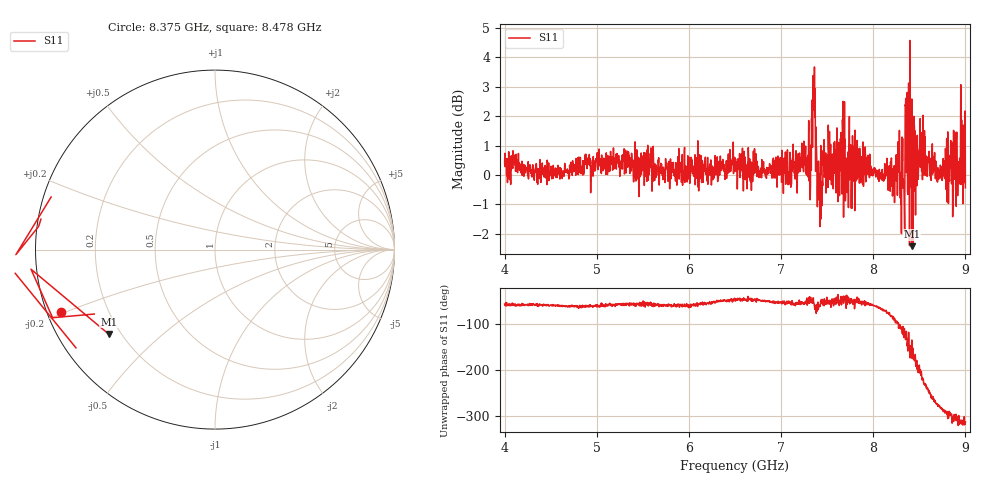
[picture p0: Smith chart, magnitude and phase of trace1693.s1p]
! Created with skrf 1.8.0 (http://scikit-rf.org).
# Hz S RI R 50.0
!freq ReS11 ImS11
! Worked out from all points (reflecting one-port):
!   1601 points, 4 GHz to 9 GHz, reference 50 ohm
!   lowest |S11| = -2.4 dB at 8.422 GHz (marker M1), VSWR 7.22, Z = 7.75 - j17.1 ohm
!   phase of S11 starts at -56 deg and turns -257 deg over the sweep
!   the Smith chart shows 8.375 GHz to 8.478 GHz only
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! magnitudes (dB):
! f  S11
! 4 GHz  0.4
! 4.625 GHz  -0.1
! 5.25 GHz  0.0
! 5.875 GHz  -0.1
! 6.5 GHz  0.6
! 7.125 GHz  0.6
! 7.294 GHz  -0.1
! 7.356 GHz  3.4
! 7.397 GHz  -0.5
! 7.419 GHz  -0.3
! 7.519 GHz  0.8
! 7.616 GHz  -0.9
! 7.669 GHz  1.5
! 7.7 GHz  -0.8
! 7.75 GHz  0.6
! 8.209 GHz  -0.7
! 8.262 GHz  -0.7
! 8.316 GHz  0.5
! 8.334 GHz  -0.5
! 8.375 GHz  -0.7
! 8.412 GHz  1.0
! 8.422 GHz  -2.4
! 8.447 GHz  1.7
! 8.522 GHz  1.4
! 8.731 GHz  0.3
! 8.919 GHz  -0.3
! 8.972 GHz  -0.1
! 9 GHz  -0.4
